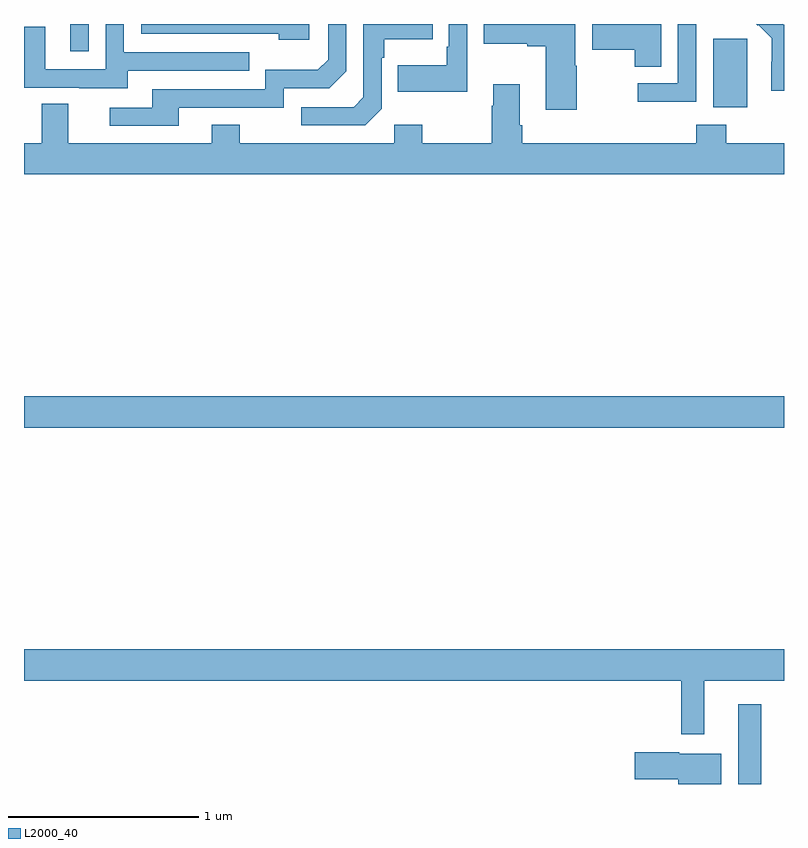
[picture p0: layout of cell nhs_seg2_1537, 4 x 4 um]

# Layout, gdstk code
import gdstk
lib = gdstk.Library(unit=1e-6, precision=1e-09)
def R(c, l, rs):  # rectangles x0, y0, x1, y1
    for r in rs: c.add(gdstk.rectangle(r[:2], r[2:], *l))
def P(c, l, *ps):  # polygons
    for p in ps: c.add(gdstk.Polygon(p, *l))
L2000_40 = (2000, 40)

nhs_seg2_1537 = lib.new_cell('nhs_seg2_1537')
R(nhs_seg2_1537, L2000_40, [(194.759,605.8,194.881,606.22), (191,607.676,195,607.84), (194.627,609.362,194.806,609.723), (191.243,609.657,191.34,609.8)])
P(nhs_seg2_1537, L2000_40, [(193.332,609.8),(193.236,609.8),(193.236,609.679),(193.224,609.679),(193.224,609.583),(192.967,609.583),(192.967,609.443),(193.332,609.443)],
  [(191.815,609.36),(192.366,609.36),(192.366,609.462),(192.606,609.462),(192.696,609.552),(192.696,609.8),(192.6,609.8),(192.6,609.612),(192.547,609.559),(192.27,609.559),(192.27,609.456),(191.675,609.456),(191.675,609.36),(191.451,609.36),(191.451,609.264),(191.815,609.264)],
  [(191.545,609.555),(192.185,609.555),(192.185,609.651),(191.526,609.651),(191.526,609.8),(191.43,609.8),(191.43,609.561),(191.112,609.561),(191.112,609.785),(191,609.785),(191,609.465),(191.291,609.465),(191.291,609.461),(191.545,609.461)],
  [(193.908,609.581),(193.9,609.581),(193.9,609.8),(193.419,609.8),(193.419,609.695),(193.649,609.695),(193.649,609.683),(193.745,609.683),(193.745,609.348),(193.908,609.348)],
  [(194.353,609.8),(193.992,609.8),(193.992,609.665),(194.215,609.665),(194.215,609.574),(194.353,609.574)],
  [(192.502,609.8),(191.616,609.8),(191.616,609.75),(192.341,609.75),(192.341,609.716),(192.502,609.716)],
  [(192.882,609.354),(192.882,609.623),(192.895,609.623),(192.895,609.719),(193.151,609.719),(193.151,609.8),(192.786,609.8),(192.786,609.414),(192.735,609.363),(192.459,609.363),(192.459,609.267),(192.795,609.267)],
  [(194.538,609.8),(194.442,609.8),(194.442,609.489),(194.229,609.489),(194.229,609.391),(194.538,609.391)],
  [(195,609.796),(194.996,609.8),(194.854,609.8),(194.862,609.792),(194.865,609.795),(194.936,609.725),(194.936,609.602),(194.934,609.602),(194.934,609.448),(195,609.448)],
  [(191.093,609.38),(191.093,609.172),(191,609.172),(191,609.008),(195,609.008),(195,609.172),(194.697,609.172),(194.697,609.271),(194.537,609.271),(194.537,609.172),(193.622,609.172),(193.622,609.268),(193.609,609.268),(193.609,609.484),(193.469,609.484),(193.469,609.371),(193.462,609.371),(193.462,609.172),(193.095,609.172),(193.095,609.271),(192.948,609.271),(192.948,609.172),(192.135,609.172),(192.135,609.271),(191.987,609.271),(191.987,609.172),(191.233,609.172),(191.233,609.38)],
  [(194.581,606.344),(195,606.344),(195,606.508),(191,606.508),(191,606.344),(194.46,606.344),(194.46,606.063),(194.581,606.063)],
  [(194.671,605.959),(194.448,605.959),(194.448,605.967),(194.214,605.967),(194.214,605.825),(194.444,605.825),(194.444,605.8),(194.671,605.8)])

lib.write_gds('nhs_seg2_1537.gds')
